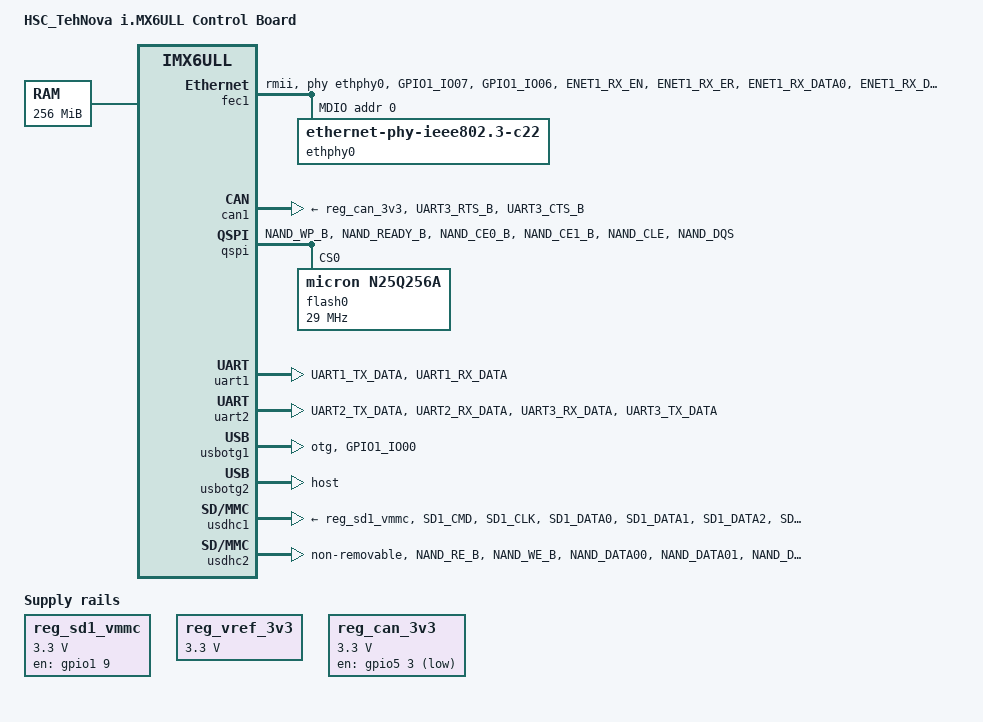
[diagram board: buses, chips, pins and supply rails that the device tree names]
// SPDX-License-Identifier: (GPL-2.0 OR MIT)
//
// Copyright (C) 2016 Freescale Semiconductor, Inc.

/dts-v1/;

#include "imx6ull.dtsi"

/ {
	model = "HSC_TehNova i.MX6ULL Control Board";
	compatible = "tn,hsc", "fsl,imx6ull";

	chosen {
		stdout-path = &uart1;
	};

	memory@80000000 {
		device_type = "memory";
		reg = <0x80000000 0x10000000>;
	};

	reg_sd1_vmmc: regulator-sd1-vmmc {
		compatible = "regulator-fixed";
		regulator-name = "VSD_3V3";
		regulator-min-microvolt = <3300000>;
		regulator-max-microvolt = <3300000>;
		gpio = <&gpio1 9 GPIO_ACTIVE_HIGH>;
		enable-active-high;
	};

	reg_vref_3v3: regulator-vref-3v3 {
		compatible = "regulator-fixed";
		pinctrl-names = "default";
		regulator-name = "VREF_3V3";
		regulator-min-microvolt = <3300000>;
		regulator-max-microvolt = <3300000>;
		regulator-always-on;
	};

	reg_can_3v3: regulator-can-3v3 {
		compatible = "regulator-fixed";
		regulator-name = "can-3v3";
		regulator-min-microvolt = <3300000>;
		regulator-max-microvolt = <3300000>;
		gpios = <&gpio5 3 GPIO_ACTIVE_LOW>;
	};

};

&clks {
	assigned-clocks = <&clks IMX6UL_CLK_PLL3_PFD2>;
	assigned-clock-rates = <320000000>;
};

&fec1 {
	pinctrl-names = "default";
	pinctrl-0 = <&pinctrl_enet1>;
	phy-mode = "rmii";
	phy-reset-gpios = <&gpio5 1 GPIO_ACTIVE_LOW>;
	phy-reset-duration = <100>;
	phy-handle = <&ethphy0>;
	status = "okay";

	mdio {
		#address-cells = <1>;
		#size-cells = <0>;

		ethphy0: ethernet-phy@0 {
			compatible = "ethernet-phy-ieee802.3-c22";
			reg = <0>;
		};
	};
};

&can1 {
	pinctrl-names = "default";
	pinctrl-0 = <&pinctrl_flexcan1>;
	xceiver-supply = <&reg_can_3v3>;
	status = "okay";
};

&qspi {
	pinctrl-names = "default";
	pinctrl-0 = <&pinctrl_qspi>;
	status = "okay";

	flash0: mx25l12845g@0 {
		#address-cells = <1>;
		#size-cells = <1>;
		compatible = "micron,n25q256a", "jedec,spi-nor";
		spi-max-frequency = <29000000>;
		reg = <0>;
	};
};

&uart1 {
	pinctrl-names = "default";
	pinctrl-0 = <&pinctrl_uart1>;
	status = "okay";
};

&uart2 {
	pinctrl-names = "default";
	pinctrl-0 = <&pinctrl_uart2>;
	uart-has-rtscts;
	status = "okay";
};

&usbotg1 {
	dr_mode = "otg";
	pinctrl-names = "default";
	pinctrl-0 = <&pinctrl_usb_otg1>;
	status = "okay";
};

&usbotg2 {
	dr_mode = "host";
	disable-over-current;
	status = "okay";
};

&usbphy1 {
	fsl,tx-d-cal = <106>;
};

&usbphy2 {
	fsl,tx-d-cal = <106>;
};

&usdhc1 {
	pinctrl-names = "default", "state_100mhz", "state_200mhz";
	pinctrl-0 = <&pinctrl_usdhc1>;
	pinctrl-1 = <&pinctrl_usdhc1_100mhz>;
	pinctrl-2 = <&pinctrl_usdhc1_200mhz>;
	cd-gpios = <&gpio1 22 GPIO_ACTIVE_LOW>;
	keep-power-in-suspend;
	wakeup-source;
	no-1-8-v;
	vmmc-supply = <&reg_sd1_vmmc>;
	status = "okay";
};

&usdhc2 {
	pinctrl-names = "default";
	pinctrl-0 = <&pinctrl_usdhc2>;
	no-1-8-v;
	non-removable;
	keep-power-in-suspend;
	wakeup-source;
	status = "okay";
};

&wdog1 {
	pinctrl-names = "default";
	pinctrl-0 = <&pinctrl_wdog>;
	fsl,ext-reset-output;
};

&iomuxc {
	pinctrl-names = "default";

	pinctrl_enet1: enet1grp {
		fsl,pins = <
			MX6UL_PAD_GPIO1_IO07__ENET1_MDC		0x1b0b0
            MX6UL_PAD_GPIO1_IO06__ENET1_MDIO	0x1b0b0
			MX6UL_PAD_ENET1_RX_EN__ENET1_RX_EN	0x1b0b0
			MX6UL_PAD_ENET1_RX_ER__ENET1_RX_ER	0x1b0b0
			MX6UL_PAD_ENET1_RX_DATA0__ENET1_RDATA00	0x1b0b0
			MX6UL_PAD_ENET1_RX_DATA1__ENET1_RDATA01	0x1b0b0
			MX6UL_PAD_ENET1_TX_EN__ENET1_TX_EN	0x1b0b0
			MX6UL_PAD_ENET1_TX_DATA0__ENET1_TDATA00	0x1b0b0
			MX6UL_PAD_ENET1_TX_DATA1__ENET1_TDATA01	0x1b0b0
			MX6UL_PAD_ENET1_TX_CLK__ENET1_REF_CLK1	0x4001b031
		>;
	};

	pinctrl_flexcan1: flexcan1grp{
		fsl,pins = <
			MX6UL_PAD_UART3_RTS_B__FLEXCAN1_RX	0x1b020
			MX6UL_PAD_UART3_CTS_B__FLEXCAN1_TX	0x1b020
		>;
	};


	pinctrl_qspi: qspigrp {
		fsl,pins = <
			MX6UL_PAD_NAND_WP_B__QSPI_A_SCLK         0x70a1
			MX6UL_PAD_NAND_READY_B__QSPI_A_DATA00    0x70a1
			MX6UL_PAD_NAND_CE0_B__QSPI_A_DATA01      0x70a1
			MX6UL_PAD_NAND_CE1_B__QSPI_A_DATA02      0x70a1
			MX6UL_PAD_NAND_CLE__QSPI_A_DATA03        0x70a1
			MX6UL_PAD_NAND_DQS__QSPI_A_SS0_B         0x70a1
		>;
	};

	pinctrl_pwm1: pwm1grp {
		fsl,pins = <
			MX6UL_PAD_GPIO1_IO08__PWM1_OUT   0x110b0
		>;
	};

		pinctrl_uart1: uart1grp {
		fsl,pins = <
			MX6UL_PAD_UART1_TX_DATA__UART1_DCE_TX 0x1b0b1
			MX6UL_PAD_UART1_RX_DATA__UART1_DCE_RX 0x1b0b1
		>;
	};
		pinctrl_uart2: uart2grp {
		fsl,pins = <
			MX6UL_PAD_UART2_TX_DATA__UART2_DCE_TX	0x1b0b1
			MX6UL_PAD_UART2_RX_DATA__UART2_DCE_RX	0x1b0b1
			MX6UL_PAD_UART3_RX_DATA__UART2_DCE_RTS	0x1b0b1
			MX6UL_PAD_UART3_TX_DATA__UART2_DCE_CTS	0x1b0b1
		>;
	};

	pinctrl_usb_otg1: usbotg1grp {
		fsl,pins = <
			MX6UL_PAD_GPIO1_IO00__ANATOP_OTG1_ID	0x17059
		>;
	};

	pinctrl_usdhc1: usdhc1grp {
		fsl,pins = <
			MX6UL_PAD_SD1_CMD__USDHC1_CMD     	0x17059
			MX6UL_PAD_SD1_CLK__USDHC1_CLK     	0x10059
			MX6UL_PAD_SD1_DATA0__USDHC1_DATA0 	0x17059
			MX6UL_PAD_SD1_DATA1__USDHC1_DATA1 	0x17059
			MX6UL_PAD_SD1_DATA2__USDHC1_DATA2 	0x17059
			MX6UL_PAD_SD1_DATA3__USDHC1_DATA3 	0x17059
			MX6UL_PAD_UART1_RTS_B__GPIO1_IO19       0x17059 /* SD1 CD */
			MX6UL_PAD_GPIO1_IO05__USDHC1_VSELECT    0x17059 /* SD1 VSELECT */
			MX6UL_PAD_GPIO1_IO09__GPIO1_IO09        0x17059 /* SD1 RESET */
		>;
	};

	pinctrl_usdhc1_100mhz: usdhc1grp100mhz {
		fsl,pins = <
			MX6UL_PAD_SD1_CMD__USDHC1_CMD     0x170b9
			MX6UL_PAD_SD1_CLK__USDHC1_CLK     0x100b9
			MX6UL_PAD_SD1_DATA0__USDHC1_DATA0 0x170b9
			MX6UL_PAD_SD1_DATA1__USDHC1_DATA1 0x170b9
			MX6UL_PAD_SD1_DATA2__USDHC1_DATA2 0x170b9
			MX6UL_PAD_SD1_DATA3__USDHC1_DATA3 0x170b9

		>;
	};

	pinctrl_usdhc1_200mhz: usdhc1grp200mhz {
		fsl,pins = <
			MX6UL_PAD_SD1_CMD__USDHC1_CMD     0x170f9
			MX6UL_PAD_SD1_CLK__USDHC1_CLK     0x100f9
			MX6UL_PAD_SD1_DATA0__USDHC1_DATA0 0x170f9
			MX6UL_PAD_SD1_DATA1__USDHC1_DATA1 0x170f9
			MX6UL_PAD_SD1_DATA2__USDHC1_DATA2 0x170f9
			MX6UL_PAD_SD1_DATA3__USDHC1_DATA3 0x170f9
		>;
	};

	pinctrl_usdhc2: usdhc2grp {
		fsl,pins = <
			MX6UL_PAD_NAND_RE_B__USDHC2_CLK     0x17059
			MX6UL_PAD_NAND_WE_B__USDHC2_CMD     0x17059
			MX6UL_PAD_NAND_DATA00__USDHC2_DATA0 0x17059
			MX6UL_PAD_NAND_DATA01__USDHC2_DATA1 0x17059
			MX6UL_PAD_NAND_DATA02__USDHC2_DATA2 0x17059
			MX6UL_PAD_NAND_DATA03__USDHC2_DATA3 0x17059
		>;
	};

	pinctrl_wdog: wdoggrp {
		fsl,pins = <
			MX6UL_PAD_LCD_RESET__WDOG1_WDOG_ANY    0x30b0
		>;
	};
};
